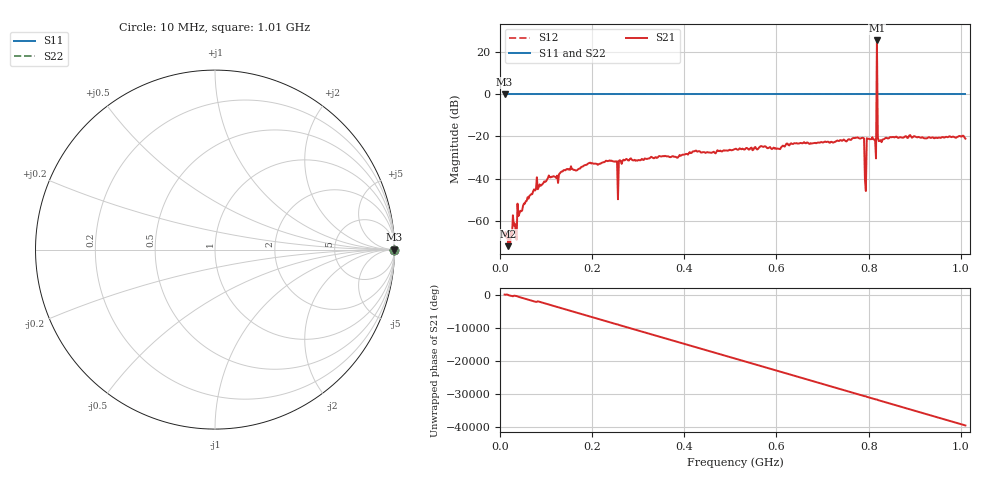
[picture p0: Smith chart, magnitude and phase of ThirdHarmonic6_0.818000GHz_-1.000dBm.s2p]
! 8/16/2025 3:12:46 AM
! C:\ANRITSUVNA\TEMP\TEMP.S2P
! CHANNEL.1
! TR.MEASUREMENT
! RAW.DATA
! RF.CORRECTION.OFF
! AVERAGING.OFF
! IF.BANDWIDTH: 5KHZ
! SWEEPTYPE:  FREQ.SWEEP(Linear)
! Reference Plane Port Info
! PORT:  PORT1  PORT2
! DISTANCE:  0  m  0  m
! TIME:  0  s  0  s
! PHASE.OFFSET:  0  deg.  0  deg.
! LOSS:  0  dB  0  dB
! REF.LOSS:  0  dB  0  dB
! REF.FREQ:  0  Hz  0  Hz
! Power Info
! POWER:  -20  dBm  -20  dBm
! EFF.POWER:  -20  dBm  -20  dBm
! SOURCE.ATTEN:  0  dB  0  dB
! TEST.ATTEN:  0  dB  0  dB
# GHZ S RI R 50.0
! FREQ.GHZ  S11RE  S11IM  S21RE  S21IM  S12RE  S12IM  S22RE  S22IM
!; PortSelection: Port_12
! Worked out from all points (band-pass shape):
!   501 points, 10 MHz to 1.01 GHz, reference 50 ohm
!   highest |S21| = 25.49 dB at 818 MHz (marker M1); lowest = -72.1 dB at 18 MHz (marker M2)
!   |S21| within 3 dB of the highest: 817.8927 MHz to 818.1303 MHz (237.6 kHz wide, 0.029 % of centre)
!   lowest |S11| = 0.0 dB at 10 MHz (marker M3)
!   |S11| at or under -10 dB: nowhere
!   |S22| runs from 0.0 to 0.0 dB; largest |S21 - S12| = 18
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0.01  1 0  0.000428 -0.000161  1 0  1 0
0.018  1 0  -0.000179 -0.000173  1 0  1 0
0.042  1 0  0.000943 -0.00113  1 0  1 0
0.076  1 0  0.00518 0.000302  1 0  1 0
0.178  1 0  -0.019 -0.00164  1 0  1 0
0.24  1 0  -0.0253 -0.00636  1 0  1 0
0.26  1 0  -0.00934 0.0255  1 0  1 0
0.272  1 0  0.0274 -0.0044  1 0  1 0
0.344  1 0  0.0304 -0.0136  1 0  1 0
0.51  1 0  -0.0368 0.034  1 0  1 0
0.678  1 0  -0.0588 -0.0352  1 0  1 0
0.786  1 0  -0.0909 0.0183  1 0  1 0
0.79  1 0  0.0896 0.00707  1 0  1 0
0.796  1 0  -0.0501 0.0753  1 0  1 0
0.8  1 0  0.0682 -0.0557  1 0  1 0
0.812  1 0  -0.0784 -0.0289  1 0  1 0
0.814  1 0  -0.0437 0.0721  1 0  1 0
0.818  1 0  16.45 9.144  1 0  1 0
0.822  1 0  -0.0683 0.0357  1 0  1 0
0.824  1 0  0.0196 0.0756  1 0  1 0
0.844  1 0  0.09 -0.0088  1 0  1 0
1.01  1 0  -0.0575 0.0669  1 0  1 0
